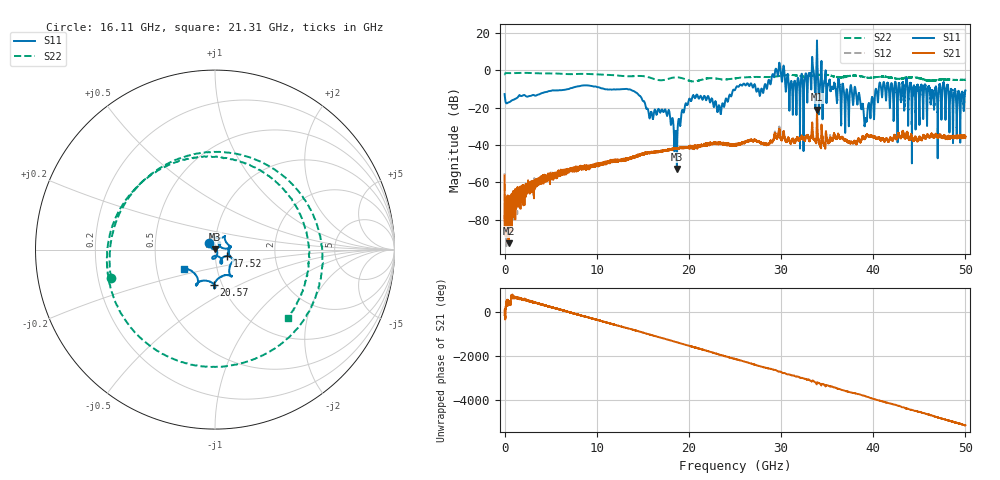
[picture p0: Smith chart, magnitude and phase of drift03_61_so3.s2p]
!Created with skrf (http://scikit-rf.org).
# Hz S RI R 50.0
!freq ReS11 ImS11 ReS21 ImS21 ReS12 ImS12 ReS22 ImS22
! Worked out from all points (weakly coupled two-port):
!   10001 points, 300 kHz to 50 GHz, reference 50 ohm
!   highest |S21| = -21.07 dB at 33.9 GHz (marker M1); lowest = -92.7 dB at 430.3 MHz (marker M2)
!   lowest |S11| = -52.7 dB at 18.69 GHz (marker M3), VSWR 1.00, Z = 49.9 + j0.195 ohm
!   |S11| at or under -10 dB: start of sweep to 6.948 GHz; 13.31 GHz to 25.05 GHz (11.73 GHz wide, 61.2 % of centre); 38.07 GHz to 40.27 GHz (2.196 GHz wide, 5.61 % of centre) (the widest 3 of 54)
!   |S22| runs from -5.9 to -1.3 dB; largest |S21 - S12| = 0.007
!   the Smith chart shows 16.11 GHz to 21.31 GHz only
!   S11 on the Smith chart (normalised r, x): 16.11 GHz: 0.93, +0.07; 17.52 GHz: 1.15, -0.08; 20.57 GHz: 0.92, -0.37; 21.31 GHz: 0.69, -0.16
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300000  -0.2098 -0.1009  -0.00111 -0.00106  0.000256 0.00174  -0.7639 -0.1997
4.302974e8  -0.0882 0.1075  2.31e-05 -3.12e-06  0.000273 4.1e-05  -0.5425 0.6487
1.540291e9  0.2059 0.0412  -0.000237 -0.000635  -0.000243 -0.000521  0.8502 0.0686
3.160281e9  -0.2186 -0.00832  0.00021 0.00101  4.8e-05 0.00104  -0.8441 -0.0239
4.665272e9  0.2632 0.0608  -0.000123 -0.00135  -8.84e-05 -0.0014  0.8187 0.1418
6.360262e9  -0.2995 0.000376  0.000534 0.00153  0.000606 0.00183  -0.8035 -0.0427
8.33525e9  0.2836 -0.2679  -0.00235 -0.000946  -0.00233 -0.000932  0.6021 -0.5359
1.043024e10  -0.0427 0.3324  0.00252 -0.00203  0.00231 -0.0017  -0.0366 0.7695
1.201523e10  0.00696 -0.3085  -0.00288 0.00257  -0.00312 0.00269  0.1064 -0.7306
1.61102e10  -0.0327 0.0385  0.00604 0.00214  0.00623 0.00215  -0.5791 -0.1565
1.66702e10  0.0544 0.0749  0.00465 -0.00487  0.0046 -0.00494  -0.3587 0.4179
1.752019e10  0.069 -0.0353  -0.00612 -0.00394  -0.00619 -0.00392  0.489 0.2942
1.869019e10  -0.00122 0.00196  0.00235 0.0077  0.00237 0.00787  -0.0839 -0.6484
2.057018e10  -0.0051 -0.1959  -0.00751 -0.00427  -0.00781 -0.00467  0.3707 0.3473
2.131017e10  -0.1727 -0.1097  -0.00482 0.00856  -0.00494 0.0084  0.4045 -0.3807
2.500015e10  -0.2963 -0.0488  0.00742 0.00686  0.0082 0.00657  -0.1856 -0.5827
3.051012e10  0.2463 -0.1049  -0.00217 0.0125  -0.00222 0.0124  0.7415 -0.0605
3.213011e10  0.2021 0.3751  -0.000892 -0.0148  -0.000292 -0.0151  -0.6984 0.0145
3.33351e10  0.4999 -1.018  -0.00497 0.0265  -0.00631 0.0249  0.6167 0.3657
3.38951e10  -0.3999 -6.31  0.0872 0.0142  0.0821 0.0113  0.6819 -0.3241
4.167005e10  -0.2187 0.2851  -0.0116 -0.00491  -0.0116 -0.00485  -0.6482 -0.0486
5e10  -0.1432 -0.2525  0.00179 -0.0158  0.00101 -0.0175  0.4666 -0.3167
